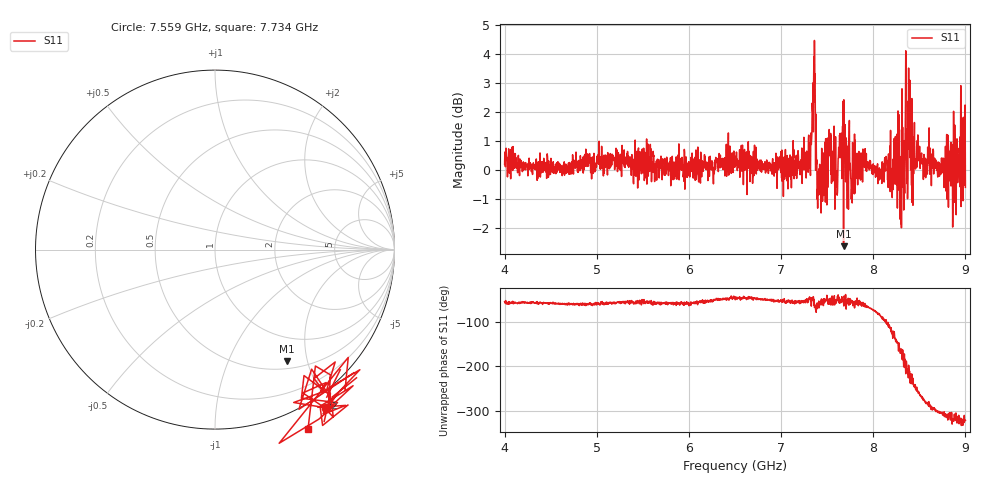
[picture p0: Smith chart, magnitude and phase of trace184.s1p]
! Created with skrf 1.8.0 (http://scikit-rf.org).
# Hz S RI R 50.0
!freq ReS11 ImS11
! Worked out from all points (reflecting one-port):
!   1601 points, 4 GHz to 9 GHz, reference 50 ohm
!   lowest |S11| = -2.6 dB at 7.678 GHz (marker M1), VSWR 6.69, Z = 30.2 - j83.1 ohm
!   phase of S11 starts at -55 deg and turns -267 deg over the sweep
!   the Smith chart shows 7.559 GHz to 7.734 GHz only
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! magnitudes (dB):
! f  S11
! 4 GHz  0.2
! 4.625 GHz  -0.2
! 5.25 GHz  0.1
! 5.875 GHz  0.0
! 6.5 GHz  0.2
! 7.125 GHz  0.2
! 7.294 GHz  -0.1
! 7.328 GHz  0.9
! 7.347 GHz  3.0
! 7.362 GHz  4.5
! 7.412 GHz  0.0
! 7.525 GHz  1.0
! 7.603 GHz  -0.2
! 7.65 GHz  1.1
! 7.678 GHz  -2.6
! 7.75 GHz  0.2
! 8.075 GHz  0.0
! 8.162 GHz  -0.6
! 8.209 GHz  0.1
! 8.259 GHz  -0.3
! 8.316 GHz  0.3
! 8.334 GHz  1.0
! 8.35 GHz  2.3
! 8.375 GHz  -0.2
! 8.447 GHz  1.6
! 8.841 GHz  1.0
! 8.972 GHz  0.8
! 9 GHz  -0.6
